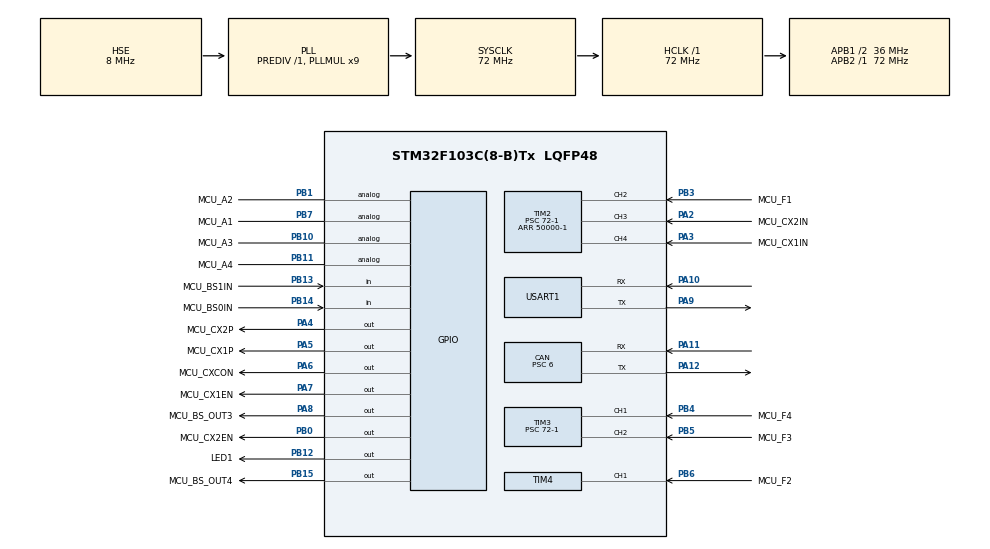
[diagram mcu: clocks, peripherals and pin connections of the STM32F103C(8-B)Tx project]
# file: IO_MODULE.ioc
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CAN.BS1=CAN_BS1_8TQ
CAN.BS2=CAN_BS2_3TQ
CAN.CalculateBaudRate=499999
CAN.CalculateTimeBit=2000
CAN.CalculateTimeQuantum=166.66666666666669
CAN.Prescaler=6
CAN.RFLM=DISABLE
CAN.SJW=CAN_SJW_3TQ
Mcu.Family=STM32F1
Mcu.Name=STM32F103C(8-B)Tx
Mcu.Package=LQFP48
NVIC.PriorityGroup=NVIC_PRIORITYGROUP_4
NVIC.TIM2_IRQn=true\:0\:0\:false\:false\:true\:true\:true\:true
NVIC.TIM3_IRQn=true\:0\:0\:false\:false\:true\:true\:true\:true
NVIC.TIM4_IRQn=true\:0\:0\:false\:false\:true\:true\:true\:true
NVIC.USART1_IRQn=true\:0\:0\:false\:false\:true\:true\:true\:true
NVIC.USB_LP_CAN1_RX0_IRQn=true\:0\:0\:false\:false\:true\:true\:true\:true
PA10.Mode=Asynchronous
PA10.Signal=USART1_RX
PA11.Mode=CAN_Activate
PA11.Signal=CAN_RX
PA12.Mode=CAN_Activate
PA12.Signal=CAN_TX
PA13.Mode=Serial_Wire
PA13.Signal=SYS_JTMS-SWDIO
PA14.Mode=Serial_Wire
PA14.Signal=SYS_JTCK-SWCLK
PA2.GPIO_Label=MCU_CX2IN
PA2.Signal=S_TIM2_CH3
PA3.GPIO_Label=MCU_CX1IN
PA3.Signal=S_TIM2_CH4
PA4.GPIO_Label=MCU_CX2P
PA4.GPIO_Speed=GPIO_SPEED_FREQ_HIGH
PA4.Signal=GPIO_Output
PA5.GPIO_Label=MCU_CX1P
PA5.GPIO_Speed=GPIO_SPEED_FREQ_HIGH
PA5.Signal=GPIO_Output
PA6.GPIO_Label=MCU_CXCON
PA6.GPIO_Speed=GPIO_SPEED_FREQ_HIGH
PA6.Signal=GPIO_Output
PA7.GPIO_Label=MCU_CX1EN
PA7.GPIO_Speed=GPIO_SPEED_FREQ_HIGH
PA7.Signal=GPIO_Output
PA8.GPIO_Label=MCU_BS_OUT3
PA8.GPIO_Speed=GPIO_SPEED_FREQ_HIGH
PA8.PinState=GPIO_PIN_RESET
PA8.Signal=GPIO_Output
PA9.Mode=Asynchronous
PA9.Signal=USART1_TX
PB0.GPIO_Label=MCU_CX2EN
PB0.GPIO_Speed=GPIO_SPEED_FREQ_HIGH
PB0.Signal=GPIO_Output
PB1.GPIO_Label=MCU_A2
PB1.Signal=GPIO_Analog
PB10.GPIO_Label=MCU_A3
PB10.Signal=GPIO_Analog
PB11.GPIO_Label=MCU_A4
PB11.Signal=GPIO_Analog
PB12.GPIO_Label=LED1
PB12.GPIO_Speed=GPIO_SPEED_FREQ_HIGH
PB12.Signal=GPIO_Output
PB13.GPIO_Label=MCU_BS1IN
PB13.Signal=GPIO_Input
PB14.GPIO_Label=MCU_BS0IN
PB14.Signal=GPIO_Input
PB15.GPIO_Label=MCU_BS_OUT4
PB15.GPIO_Speed=GPIO_SPEED_FREQ_HIGH
PB15.PinState=GPIO_PIN_RESET
PB15.Signal=GPIO_Output
PB3.GPIO_Label=MCU_F1
PB3.Signal=S_TIM2_CH2
PB4.GPIO_Label=MCU_F4
PB4.Signal=S_TIM3_CH1
PB5.GPIO_Label=MCU_F3
PB5.Signal=S_TIM3_CH2
PB6.GPIO_Label=MCU_F2
PB6.Signal=S_TIM4_CH1
PB7.GPIO_Label=MCU_A1
PB7.Signal=GPIO_Analog
PD0-OSC_IN.Mode=HSE-External-Oscillator
PD0-OSC_IN.Signal=RCC_OSC_IN
PD1-OSC_OUT.Mode=HSE-External-Oscillator
PD1-OSC_OUT.Signal=RCC_OSC_OUT
ProjectManager.HeapSize=0x200
ProjectManager.StackSize=0x400
ProjectManager.TargetToolchain=MDK-ARM V5.32
RCC.AHBFreq_Value=72000000
RCC.APB1CLKDivider=RCC_HCLK_DIV2
RCC.APB1Freq_Value=36000000
RCC.APB1TimFreq_Value=72000000
RCC.APB2Freq_Value=72000000
RCC.APB2TimFreq_Value=72000000
RCC.HCLKFreq_Value=72000000
RCC.PLLMUL=RCC_PLL_MUL9
RCC.PLLSourceVirtual=RCC_PLLSOURCE_HSE
RCC.SYSCLKFreq_VALUE=72000000
RCC.SYSCLKSource=RCC_SYSCLKSOURCE_PLLCLK
RCC.USBFreq_Value=72000000
SH.S_TIM2_CH2.0=TIM2_CH2,Input_Capture2_from_TI2
SH.S_TIM2_CH3.0=TIM2_CH3,Input_Capture3_from_TI3
SH.S_TIM2_CH4.0=TIM2_CH4,Input_Capture4_from_TI4
SH.S_TIM3_CH1.0=TIM3_CH1,Input_Capture1_from_TI1
SH.S_TIM3_CH2.0=TIM3_CH2,Input_Capture2_from_TI2
SH.S_TIM4_CH1.0=TIM4_CH1,Input_Capture1_from_TI1
TIM1.AutoReloadPreload=TIM_AUTORELOAD_PRELOAD_ENABLE
TIM1.Period=40000-1
TIM1.Prescaler=72-1
TIM2.AutoReloadPreload=TIM_AUTORELOAD_PRELOAD_ENABLE
TIM2.Channel-Input_Capture2_from_TI2=TIM_CHANNEL_2
TIM2.Channel-Input_Capture3_from_TI3=TIM_CHANNEL_3
TIM2.Channel-Input_Capture4_from_TI4=TIM_CHANNEL_4
TIM2.Period=50000-1
TIM2.Prescaler=72-1
TIM3.AutoReloadPreload=TIM_AUTORELOAD_PRELOAD_ENABLE
TIM3.Channel-Input_Capture1_from_TI1=TIM_CHANNEL_1
TIM3.Channel-Input_Capture2_from_TI2=TIM_CHANNEL_2
TIM3.Period=10000-1
TIM3.Prescaler=72-1
TIM4.AutoReloadPreload=TIM_AUTORELOAD_PRELOAD_ENABLE
TIM4.Channel-Input_Capture1_from_TI1=TIM_CHANNEL_1
TIM4.Period=10000-1
TIM4.Prescaler=72-1
USART1.VirtualMode=VM_ASYNC
VP_TIM1_VS_ClockSourceINT.Mode=Internal
VP_TIM2_VS_ClockSourceINT.Mode=Internal
VP_TIM3_VS_ClockSourceINT.Mode=Internal
VP_TIM4_VS_ClockSourceINT.Mode=Internal
board=custom

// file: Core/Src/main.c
/* USER CODE BEGIN Header */
/**
  ******************************************************************************
  * @file           : main.c
  * @brief          : Main program body
  ******************************************************************************
  * @attention
  *
  * Copyright (c) 2024 STMicroelectronics.
  * All rights reserved.
  *
  * This software is licensed under terms that can be found in the LICENSE file
  * in the root directory of this software component.
  * If no LICENSE file comes with this software, it is provided AS-IS.
  *
  ******************************************************************************
  */
/* USER CODE END Header */
#include "main.h"
#include "can.h"
#include "tim.h"
#include "usart.h"
#include "gpio.h"

/* USER CODE BEGIN Includes */
#include "stdio.h"
#include "stdlib.h"
#include "math.h"
#include "BS.h"
#include "CXxEN.h"
#include "CXxIN.h"
#include "input.h"
/* USER CODE END Includes */

/* USER CODE BEGIN PTD */
extern CAN_TxHeaderTypeDef   TxHeader;
extern CAN_RxHeaderTypeDef   RxHeader;
extern uint8_t               TxData[8];
extern uint8_t               RxData[8];
extern uint32_t              TxMailbox;

extern uint32_t capture_Buf[3] ;   //存放计数值
extern uint8_t capture_Cnt ;    //状态标志位
extern uint32_t high_time;   //高电平时间

uint8_t overflow_cnt=0;   //是否溢出

#define ON  0
#define OFF  1
/* USER CODE END PTD */

void SystemClock_Config(void);

int main(void)
{

  /* MCU Configuration--------------------------------------------------------*/

  /* Reset of all peripherals, Initializes the Flash interface and the Systick. */
  HAL_Init();

  /* Configure the system clock */
  SystemClock_Config();

  /* Initialize all configured peripherals */
  MX_GPIO_Init();
  MX_CAN_Init();
  MX_TIM2_Init();
  MX_TIM3_Init();
  MX_TIM4_Init();
  MX_USART1_UART_Init();
  MX_TIM1_Init();

  /* USER CODE BEGIN 2 */

	Set_MCU_CXCON_ON_OFF(OFF);         	//断开电子开关
	Set_MCU_CX1EN_ON_OFF(OFF);				 	//cx1发送脉冲失能
	Set_MCU_CX2EN_ON_OFF(ON);					//cx2发送脉冲失能
	Set_MCU_CX1P(10);                   //设置CX1脉宽
	Set_MCU_CX2P(15);										//设置CX2脉宽  单位：ms
  /* USER CODE END 2 */

  /* Infinite loop */
  while (1)
  {

    /* USER CODE BEGIN 3 */
		//HAL_GPIO_TogglePin(GPIOA,GPIO_PIN_6);

		HAL_GPIO_TogglePin(GPIOB,LED1_Pin);
		HAL_Delay(500);

	TxData[0] = 0x11;    //CAN收发正常
	TxData[1] = 0xAD;
	TxData[2] = 0x33;
	TxData[3] = 0x55;
	TxData[4] = 0x77;
	TxData[5] = 0x44;
	TxData[6] = 0x88;
	TxData[7] = 0x99;

	TxHeader.StdId = 0x321;
  TxHeader.ExtId = 0x00;
  TxHeader.RTR = CAN_RTR_DATA;
  TxHeader.IDE = CAN_ID_STD;
  TxHeader.DLC = 8;

        /* Start the Transmission process */
			if (HAL_CAN_AddTxMessage(&hcan, &TxHeader, TxData, &TxMailbox) != HAL_OK)
        {
          /* Transmission request Error */
         // Error_Handler();
        }
        HAL_Delay(10);
				 /* Get an CAN frame from the Rx FIFO zone into the message RAM.*/
			if(HAL_CAN_GetRxMessage(&hcan, CAN_RX_FIFO0,&RxHeader, RxData)!=HAL_OK){
					//Error_Handler();
				}
//

//		TERM_CXIN_IC();            //终端查询信号捕获
//		CPU_CXIN_IC();							//主板查询信号捕获
//		Get_CPU_BS0IN_status();       //获取BS状态并控制输出状态
//		MCU_F1_freq_get();						//F1频率捕获
//		MCU_F2_freq_get();						//F2频率捕获
//		MCU_F3_freq_get();						//F3频率捕获
//		MCU_F4_freq_get();						//F4频率捕获

    /* USER CODE END WHILE */

    /* USER CODE BEGIN 3 */

}

  /* USER CODE END 3 */
}

void SystemClock_Config(void)
{
  RCC_OscInitTypeDef RCC_OscInitStruct = {0};
  RCC_ClkInitTypeDef RCC_ClkInitStruct = {0};

  /** Initializes the RCC Oscillators according to the specified parameters
  * in the RCC_OscInitTypeDef structure.
  */
  RCC_OscInitStruct.OscillatorType = RCC_OSCILLATORTYPE_HSE;
  RCC_OscInitStruct.HSEState = RCC_HSE_ON;
  RCC_OscInitStruct.HSEPredivValue = RCC_HSE_PREDIV_DIV1;
  RCC_OscInitStruct.HSIState = RCC_HSI_ON;
  RCC_OscInitStruct.PLL.PLLState = RCC_PLL_ON;
  RCC_OscInitStruct.PLL.PLLSource = RCC_PLLSOURCE_HSE;
  RCC_OscInitStruct.PLL.PLLMUL = RCC_PLL_MUL9;
  if (HAL_RCC_OscConfig(&RCC_OscInitStruct) != HAL_OK)
  {
    Error_Handler();
  }

  /** Initializes the CPU, AHB and APB buses clocks
  */
  RCC_ClkInitStruct.ClockType = RCC_CLOCKTYPE_HCLK|RCC_CLOCKTYPE_SYSCLK
                              |RCC_CLOCKTYPE_PCLK1|RCC_CLOCKTYPE_PCLK2;
  RCC_ClkInitStruct.SYSCLKSource = RCC_SYSCLKSOURCE_PLLCLK;
  RCC_ClkInitStruct.AHBCLKDivider = RCC_SYSCLK_DIV1;
  RCC_ClkInitStruct.APB1CLKDivider = RCC_HCLK_DIV2;
  RCC_ClkInitStruct.APB2CLKDivider = RCC_HCLK_DIV1;

  if (HAL_RCC_ClockConfig(&RCC_ClkInitStruct, FLASH_LATENCY_2) != HAL_OK)
  {
    Error_Handler();
  }
}

/* USER CODE BEGIN 4 */

struct __FILE
{
	int handle;
};

FILE __stdout;
void _sys_exit(int x){
x=x;
}
int fputc(int ch,FILE *f){
		HAL_UART_Transmit(&huart1,(uint8_t *)&ch,1,0xFFFF);
	return ch;
}
//加入以下代码,支持printf函数,而不需要选择use MicroLIB
//#if 1
//#pragma import(__use_no_semihosting)
////标准库需要的支持函数
//struct __FILE
//{
//	int handle;

//};

//FILE __stdout;
////定义_sys_exit()以避免使用半主机模式
//void _sys_exit(int x)
//{
//	x = x;
//}
////重定义fputc函数
//int fputc(int ch, FILE *f)
//{
//	while((USART1->SR&0X40)==0);//循环发送,直到发送完毕
//    USART1->DR = (uint8_t) ch;
//	return ch;
//}
//#endif
/* USER CODE END 4 */

void Error_Handler(void)
{
  __disable_irq();
  while (1)
  {
  }
}
